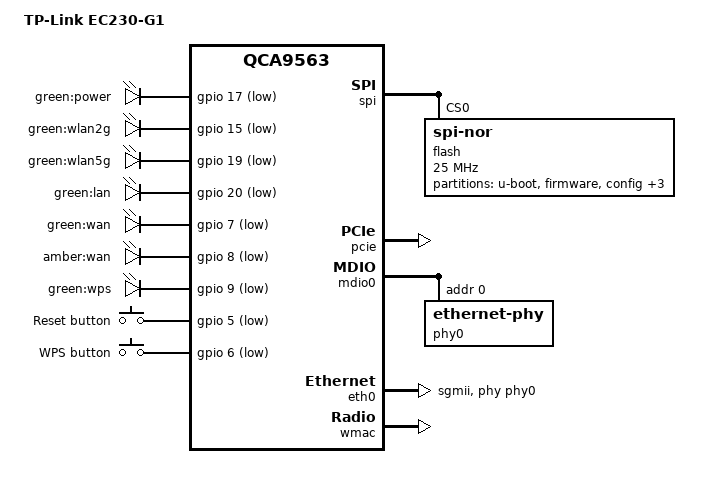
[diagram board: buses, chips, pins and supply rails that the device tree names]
// SPDX-License-Identifier: GPL-2.0-or-later OR MIT

#include "qca956x.dtsi"

#include <dt-bindings/gpio/gpio.h>
#include <dt-bindings/input/input.h>

/ {
	compatible = "tplink,ec230-g1", "qca,qca9563";
	model = "TP-Link EC230-G1";

	aliases {
		label-mac-device = &eth0;

		led-boot = &led_power;
		led-failsafe = &led_power;
		led-running = &led_power;
		led-upgrade = &led_power;
	};

	leds {
		compatible = "gpio-leds";

		led_power: power {
			label = "green:power";
			gpios = <&gpio 17 GPIO_ACTIVE_LOW>;
			default-state = "on";
		};

		wlan2g {
			label = "green:wlan2g";
			gpios = <&gpio 15 GPIO_ACTIVE_LOW>;
			linux,default-trigger = "phy1tpt";
		};

		wlan5g {
			label = "green:wlan5g";
			gpios = <&gpio 19 GPIO_ACTIVE_LOW>;
			linux,default-trigger = "phy0tpt";
		};

		lan {
			label = "green:lan";
			gpios = <&gpio 20 GPIO_ACTIVE_LOW>;
		};

		wan {
			label = "green:wan";
			gpios = <&gpio 7 GPIO_ACTIVE_LOW>;
		};

		wan_fail {
			label = "amber:wan";
			gpios = <&gpio 8 GPIO_ACTIVE_LOW>;
		};

		wps {
			label = "green:wps";
			gpios = <&gpio 9 GPIO_ACTIVE_LOW>;
		};
	};

	keys {
		compatible = "gpio-keys";

		reset {
			label = "Reset button";
			linux,code = <KEY_RESTART>;
			gpios = <&gpio 5 GPIO_ACTIVE_LOW>;
			debounce-interval = <60>;
		};

		wps {
			label = "WPS button";
			linux,code = <KEY_WPS_BUTTON>;
			gpios = <&gpio 6 GPIO_ACTIVE_LOW>;
			debounce-interval = <60>;
		};
	};
};

&spi {
	status = "okay";

	flash@0 {
		compatible = "jedec,spi-nor";
		reg = <0>;
		spi-max-frequency = <25000000>;

		partitions {
			compatible = "fixed-partitions";
			#address-cells = <1>;
			#size-cells = <1>;

			partition@0 {
				label = "u-boot";
				reg = <0x000000 0x020000>;
				read-only;
			};

			partition@20000 {
				compatible = "tplink,firmware";
				label = "firmware";
				reg = <0x020000 0xfa0000>;
			};

			partition@fc0000 {
				label = "config";
				reg = <0xfc0000 0x010000>;
				read-only;
			};

			partition@fd0000 {
				label = "romfile";
				reg = <0xfd0000 0x010000>;
				read-only;
			};

			rom: partition@fe0000 {
				label = "rom";
				reg = <0xfe0000 0x010000>;
				read-only;
			};

			art: partition@ff0000 {
				label = "art";
				reg = <0xff0000 0x010000>;
				read-only;
			};
		};
	};
};


&pcie {
	status = "okay";
};

&mdio0 {
	status = "okay";

	phy-mask = <0>;

	phy0: ethernet-phy@0 {
		reg = <0>;
		phy-mode = "sgmii";
		qca,mib-poll-interval = <500>;

		qca,ar8327-initvals = <
			0x04 0x00080080 /* PORT0 PAD MODE CTRL */
			0x7c 0x0000007e /* PORT0_STATUS */
			>;
	};
};

&eth0 {
	status = "okay";

	phy-mode = "sgmii";
	phy-handle = <&phy0>;

	mtd-mac-address = <&rom 0xf100>;
};

&wmac {
	status = "okay";

	mtd-cal-data = <&art 0x1000>;
	mtd-mac-address = <&rom 0xf100>;
};
